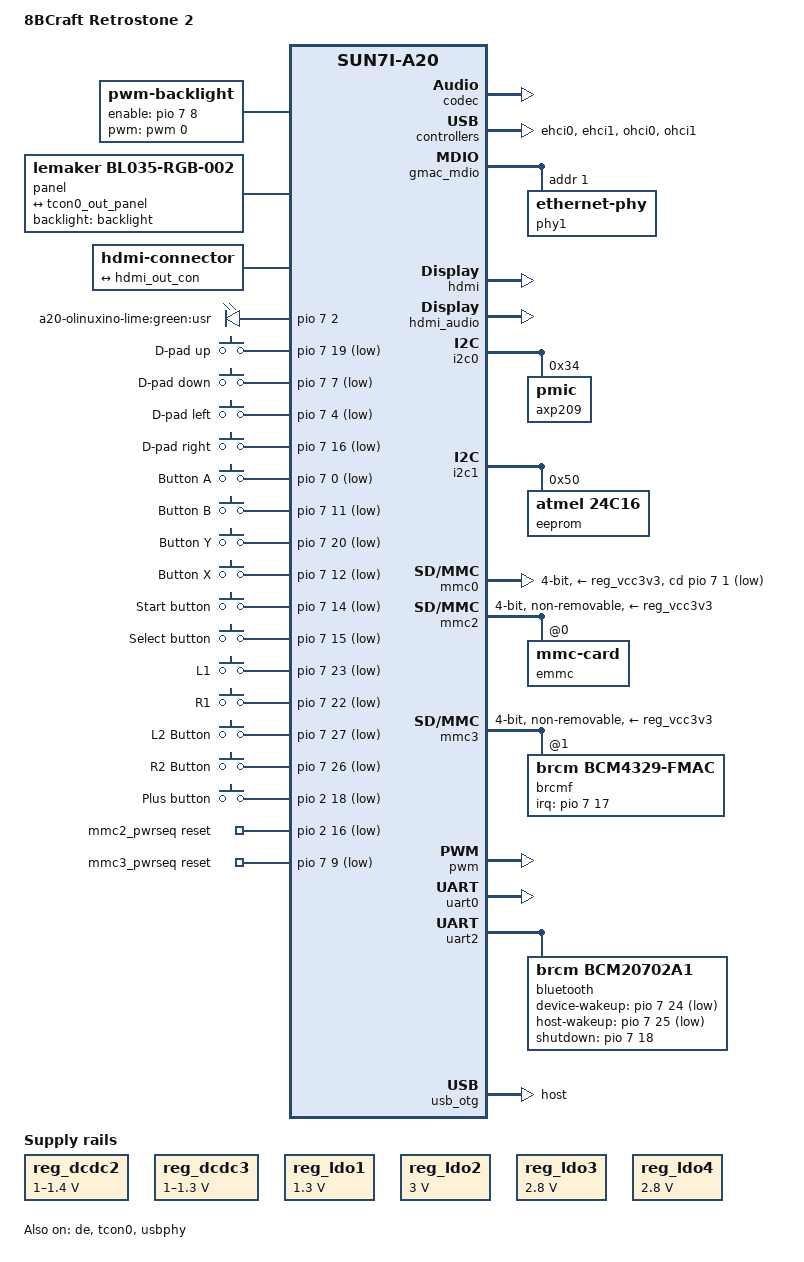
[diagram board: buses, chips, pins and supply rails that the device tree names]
/*
 * This is based on sun4i-a10-olinuxino-lime.dts
 *
 * Copyright 2014 - Hans de Goede <hdegoede@redhat.com>
 * Copyright (c) 2014 FUKAUMI Naoki <naobsd@gmail.com>
 *
 * This file is dual-licensed: you can use it either under the terms
 * of the GPL or the X11 license, at your option. Note that this dual
 * licensing only applies to this file, and not this project as a
 * whole.
 *
 *  a) This file is free software; you can redistribute it and/or
 *     modify it under the terms of the GNU General Public License as
 *     published by the Free Software Foundation; either version 2 of the
 *     License, or (at your option) any later version.
 *
 *     This file is distributed in the hope that it will be useful,
 *     but WITHOUT ANY WARRANTY; without even the implied warranty of
 *     MERCHANTABILITY or FITNESS FOR A PARTICULAR PURPOSE.  See the
 *     GNU General Public License for more details.
 *
 * Or, alternatively,
 *
 *  b) Permission is hereby granted, free of charge, to any person
 *     obtaining a copy of this software and associated documentation
 *     files (the "Software"), to deal in the Software without
 *     restriction, including without limitation the rights to use,
 *     copy, modify, merge, publish, distribute, sublicense, and/or
 *     sell copies of the Software, and to permit persons to whom the
 *     Software is furnished to do so, subject to the following
 *     conditions:
 *
 *     The above copyright notice and this permission notice shall be
 *     included in all copies or substantial portions of the Software.
 *
 *     THE SOFTWARE IS PROVIDED "AS IS", WITHOUT WARRANTY OF ANY KIND,
 *     EXPRESS OR IMPLIED, INCLUDING BUT NOT LIMITED TO THE WARRANTIES
 *     OF MERCHANTABILITY, FITNESS FOR A PARTICULAR PURPOSE AND
 *     NONINFRINGEMENT. IN NO EVENT SHALL THE AUTHORS OR COPYRIGHT
 *     HOLDERS BE LIABLE FOR ANY CLAIM, DAMAGES OR OTHER LIABILITY,
 *     WHETHER IN AN ACTION OF CONTRACT, TORT OR OTHERWISE, ARISING
 *     FROM, OUT OF OR IN CONNECTION WITH THE SOFTWARE OR THE USE OR
 *     OTHER DEALINGS IN THE SOFTWARE.
 */

/dts-v1/;
#include "sun7i-a20.dtsi"
#include "sunxi-common-regulators.dtsi"

#include <dt-bindings/gpio/gpio.h>
#include <dt-bindings/interrupt-controller/irq.h>
#include <dt-bindings/pwm/pwm.h>
#include <dt-bindings/input/input.h>

/ {
	model = "8BCraft Retrostone 2";
	compatible = "olimex,a20-olinuxino-lime","olimex,a20-olinuxino-lime2-emmc", "allwinner,sun7i-a20";

	aliases {
		serial0 = &uart0;
		serial2 = &uart2;
	};

	chosen {
		stdout-path = "serial0:115200n8";
	};

	backlight: backlight {
		compatible = "pwm-backlight";
		pwms = <&pwm 0 50000 0>;
		/* This table uses a gamma curve with a 1.8 power. */
		brightness-levels = <  0   1   1   1   1   1   2   2
				       3   3   4   5   6   6   7   8
				       9  11  12  13  14  15  17  18
				      20  21  23  24  26  27  29  31
				      33  35  37  39  41  43  45  47
				      49  51  54  56  58  61  63  66
				      68  71  73  76  79  81  84  87
				      90  93  96  99 102 105 108 111
				     114 117 121 124 127 131 134 138
				     141 145 148 152 156 159 163 167
				     171 175 178 182 186 190 194 198
				     203 207 211 215 219 224 228 233
				     237 241 246 250 255>;
		default-brightness-level = <50>;
		enable-gpios = <&pio 7 8 GPIO_ACTIVE_HIGH>; /* PH8 */
	};

	panel: panel {
		compatible = "lemaker,bl035-rgb-002";
		#address-cells = <1>;
		#size-cells = <0>;
		backlight = <&backlight>;

		port@0 {
			reg = <0>;
			#address-cells = <1>;
			#size-cells = <0>;

			panel_input: endpoint@0 {
				reg = <0>;
				remote-endpoint = <&tcon0_out_panel>;
			};
		};
	};

	hdmi-connector {
		compatible = "hdmi-connector";
		type = "a";

		port {
			hdmi_con_in: endpoint {
				remote-endpoint = <&hdmi_out_con>;
			};
		};
	};

	leds {
		compatible = "gpio-leds";
		pinctrl-names = "default";
		pinctrl-0 = <&led_pins_olinuxinolime>;

		green {
			label = "a20-olinuxino-lime:green:usr";
			gpios = <&pio 7 2 GPIO_ACTIVE_HIGH>;
			default-state = "on";
		};
	};
	
	
	gpio_keys: gpio-keys {
		compatible = "gpio-keys";
		#address-cells = <1>;
		#size-cells = <0>;
		autorepeat;
		button@0 {
			label = "D-pad up";
			linux,code = <KEY_UP>;
			linux,can-disable;
			gpios = <&pio 7 19 GPIO_ACTIVE_LOW>;
		};
		button@1 {
			label = "D-pad down";
			linux,code = <KEY_DOWN>;
			linux,can-disable;
			gpios = <&pio 7 7 GPIO_ACTIVE_LOW>;
		};
		button@2 {
			label = "D-pad left";
			linux,code = <KEY_LEFT>;
			linux,can-disable;
			gpios = <&pio 7 4 GPIO_ACTIVE_LOW>;
		};
		button@3 {
			label = "D-pad right";
			linux,code = <KEY_RIGHT>;
			linux,can-disable;
			gpios = <&pio 7 16 GPIO_ACTIVE_LOW>;
		};
		button@4 {
			label = "Button A";
			linux,code = <KEY_LEFTCTRL>;
			linux,can-disable;
			gpios = <&pio 7 0 GPIO_ACTIVE_LOW>;
		};
		button@5 {
			label = "Button B";
			linux,code = <KEY_LEFTALT>;
			linux,can-disable;
			gpios = <&pio 7 11 GPIO_ACTIVE_LOW>;
		};
		button@6 {
			label = "Button Y";
			linux,code = <KEY_SPACE>;
			linux,can-disable;
			gpios = <&pio 7 20 GPIO_ACTIVE_LOW>;
		};
		button@7 {
			label = "Button X";
			linux,code = <KEY_LEFTSHIFT>;
			linux,can-disable;
			gpios = <&pio 7 12 GPIO_ACTIVE_LOW>;
		};
		button@10 {
			label = "Start button";
			linux,code = <KEY_ENTER>;
			linux,can-disable;
			gpios = <&pio 7 14 GPIO_ACTIVE_LOW>;
		};
		button@11 {
			label = "Select button";
			linux,code = <KEY_ESC>;
			gpios = <&pio 7 15 GPIO_ACTIVE_LOW>;
		};
	};
	
	gpio_keys_polled
	{
		status = "okay";
		compatible = "gpio-keys-polled";
		#address-cells = <1>;
		#size-cells = <0>;
		poll-interval = <10>;
		autorepeat;
		button@12
		{
			label = "L1";
			linux,code = <KEY_TAB>;
			gpios = <&pio 7 23 GPIO_ACTIVE_LOW>;
		};
		button@13
		{
			label = "R1";
			linux,code = <KEY_BACKSPACE>;
			gpios = <&pio 7 22 GPIO_ACTIVE_LOW>;
		};
		button@14
		{
			label = "L2 Button";
			linux,code = <KEY_PAGEUP>;
			gpios = <&pio 7 27 GPIO_ACTIVE_LOW>;
		};
		button@15
		{
			label = "R2 Button";
			linux,code = <KEY_PAGEDOWN>;
			gpios = <&pio 7 26 GPIO_ACTIVE_LOW>;
		};
		button@16 {
			label = "Plus button";
			linux,code = <KEY_SCALE>;
			gpios = <&pio 2 18 GPIO_ACTIVE_LOW>;
		};
		/*
		button@17 {
			label = "Minus button";
			linux,code = <KEY_SCALE>;
			gpios = <&pio 2 22 GPIO_ACTIVE_LOW>;
		};
		*/
	};
	
	mmc2_pwrseq: mmc2_pwrseq {
		compatible = "mmc-pwrseq-emmc";
		reset-gpios = <&pio 2 16 GPIO_ACTIVE_LOW>;
	};

	mmc3_pwrseq: mmc3_pwrseq {
		compatible = "mmc-pwrseq-simple";
		reset-gpios = <&pio 7 9 GPIO_ACTIVE_LOW>; /* PH9 WIFI_EN */
		clocks = <&ccu CLK_OUT_A>;
		clock-names = "ext_clock";
	};
};

/*&ahci {
	target-supply = <&reg_ahci_5v>;
	status = "okay";
};*/

&cpu0 {
	cpu-supply = <&reg_dcdc2>;
};

&cpu1 {
	cpu-supply = <&reg_dcdc2>;
};

&de {
	status = "okay";
};

&codec {
	status = "okay";
};

&ehci0 {
	status = "okay";
};

&ehci1 {
	status = "okay";
};

&gmac_mdio {
	phy1: ethernet-phy@1 {
		reg = <1>;
	};
};

&hdmi {
	status = "okay";
};

&hdmi_out {
	hdmi_out_con: endpoint {
		remote-endpoint = <&hdmi_con_in>;
	};
};

&hdmi_audio {
	status = "okay";
};

&i2c0 {
	status = "okay";

	axp209: pmic@34 {
		reg = <0x34>;
		interrupt-parent = <&nmi_intc>;
		interrupts = <0 IRQ_TYPE_LEVEL_LOW>;
	};
};

&i2c1 {
	status = "okay";

	eeprom: eeprom@50 {
		compatible = "atmel,24c16";
		reg = <0x50>;
		pagesize = <16>;
	};
};

&mmc0 {
	vmmc-supply = <&reg_vcc3v3>;
	bus-width = <4>;
	cd-gpios = <&pio 7 1 GPIO_ACTIVE_LOW>; /* PH1 */
	status = "okay";
};

&mmc2 {
        vmmc-supply = <&reg_vcc3v3>;
        vqmmc-supply = <&reg_vcc3v3>;
        bus-width = <4>;
        non-removable;
        mmc-pwrseq = <&mmc2_pwrseq>;
        status = "okay";

        emmc: emmc@0 {
                reg = <0>;
                compatible = "mmc-card";
                broken-hpi;
        };
};

&mmc3 {
	vmmc-supply = <&reg_vcc3v3>;
	mmc-pwrseq = <&mmc3_pwrseq>;
	bus-width = <4>;
	non-removable;
	status = "okay";

	brcmf: wifi@1 {
		reg = <1>;
		compatible = "brcm,bcm4329-fmac";
		interrupt-parent = <&pio>;
		interrupts = <7 17 IRQ_TYPE_LEVEL_LOW>; /* PH17 / EINT10 */
		interrupt-names = "host-wake";
	};
};

&ohci0 {
	status = "okay";
};

&ohci1 {
	status = "okay";
};

&otg_sram {
	status = "okay";
};

&pio {
	vcc-pa-supply = <&reg_vcc3v3>;
	vcc-pc-supply = <&reg_vcc3v3>;
	vcc-pe-supply = <&reg_ldo3>;
	vcc-pf-supply = <&reg_vcc3v3>;
	vcc-pg-supply = <&reg_ldo4>;
	
	led_pins_olinuxinolime: led-pins {
		pins = "PH2";
		function = "gpio_out";
		drive-strength = <20>;
		/* Pin outputs low power clock for WiFi and BT */
		pinctrl-0 = <&clk_out_a_pin>;
		pinctrl-names = "default";
	};
};

#include "axp209.dtsi"

&ac_power_supply {
	status = "okay";
};

&battery_power_supply {
	status = "okay";
};

&reg_dcdc2 {
	regulator-always-on;
	regulator-min-microvolt = <1000000>;
	regulator-max-microvolt = <1400000>;
	regulator-name = "vdd-cpu";
};

&reg_dcdc3 {
	regulator-always-on;
	regulator-min-microvolt = <1000000>;
	regulator-max-microvolt = <1300000>;
	regulator-name = "vdd-int-dll";
};

&reg_ldo1 {
	regulator-always-on;
	regulator-min-microvolt = <1300000>;
	regulator-max-microvolt = <1300000>;
	regulator-name = "vdd-rtc";
};

&reg_ldo2 {
	regulator-always-on;
	regulator-min-microvolt = <3000000>;
	regulator-max-microvolt = <3000000>;
	regulator-name = "avcc";
};

&reg_ldo3 {
	regulator-min-microvolt = <2800000>;
	regulator-max-microvolt = <2800000>;
	regulator-name = "vddio-csi0";
	regulator-always-on;
	regulator-ramp-delay = <1600>;
};

&reg_ldo4 {
	regulator-min-microvolt = <2800000>;
	regulator-max-microvolt = <2800000>;
	regulator-name = "vddio-csi1";
};

&axp_gpio {
	gpio0_adc: gpio0-adc {
		pins = "GPIO0";
		function = "adc";
	};
	gpio1_adc: gpio1-adc {
		pins = "GPIO1";
		function = "adc";
	};
};

&pwm {
	pinctrl-names = "default";
	pinctrl-0 = <&pwm0_pin>;
	status = "okay";
};

/*
&reg_ahci_5v {
	gpio = <&pio 2 3 GPIO_ACTIVE_HIGH>;
	status = "okay";
};
*/

&reg_usb0_vbus {
	status = "okay";
};

&reg_usb1_vbus {
	status = "okay";
};

&reg_usb2_vbus {
	status = "okay";
};

&tcon0 {
	pinctrl-names = "default";
	pinctrl-0 = <&lcd0_rgb888_pins>;
	status = "okay";
};

&tcon0_out {
	tcon0_out_panel: endpoint@0 {
		reg = <0>;
		remote-endpoint = <&panel_input>;
	};
};

&uart0 {
	pinctrl-names = "default";
	pinctrl-0 = <&uart0_pb_pins>;
	status = "okay";
};

&uart2 {
        pinctrl-names = "default";
        pinctrl-0 = <&uart2_pi_pins>, <&uart2_cts_rts_pi_pins>;
        uart-has-rtscts;
        status = "okay";

        bluetooth {
                compatible = "brcm,bcm20702a1";
                clocks = <&ccu CLK_OUT_A>;
                clock-names = "lpo";
                device-wakeup-gpios = <&pio 7 24 GPIO_ACTIVE_LOW>; /* PH24 */
                host-wakeup-gpios = <&pio 7 25 GPIO_ACTIVE_LOW>; /* PH25 */
                shutdown-gpios = <&pio 7 18 GPIO_ACTIVE_HIGH>; /* PH18 */
                max-speed = <1500000>;
        };
};

&usb_otg {
        dr_mode = "host";
        status = "okay";
};

&usbphy {
	usb0_vbus-supply = <&reg_usb0_vbus>;
	usb1_vbus-supply = <&reg_usb1_vbus>;
	usb2_vbus-supply = <&reg_usb2_vbus>;
	status = "okay";
};

